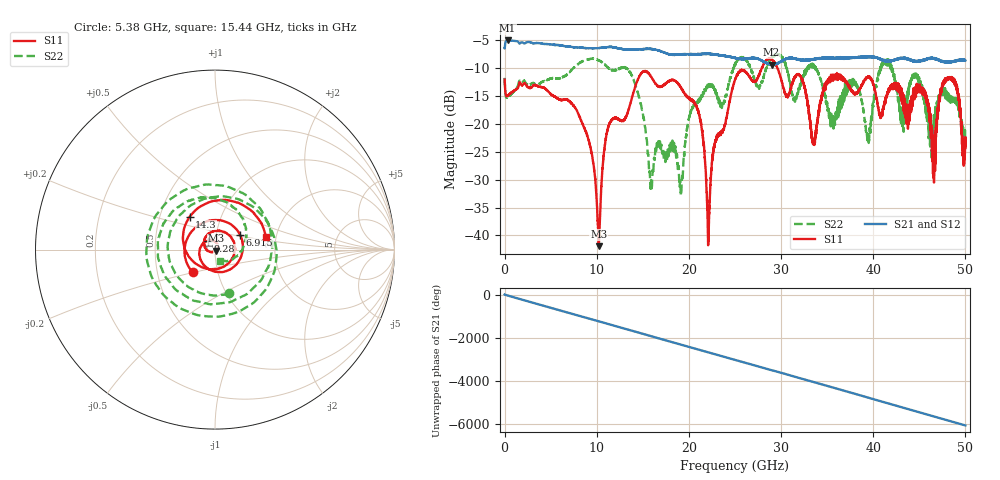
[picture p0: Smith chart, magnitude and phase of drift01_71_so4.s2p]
!Created with skrf (http://scikit-rf.org).
# Hz S RI R 50.0
!freq ReS11 ImS11 ReS21 ImS21 ReS12 ImS12 ReS22 ImS22
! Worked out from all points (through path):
!   10001 points, 300 kHz to 50 GHz, reference 50 ohm
!   highest |S21| = -5.05 dB at 325.3 MHz (marker M1); lowest = -9.4 dB at 28.97 GHz (marker M2)
!   group delay of S21, straight-line fit = 336 ps
!   lowest |S11| = -41.9 dB at 10.23 GHz (marker M3), VSWR 1.02, Z = 50.5 - j0.635 ohm
!   |S11| at or under -10 dB: start of sweep to 27.9 GHz; 29.6 GHz to end of sweep
!   |S22| runs from -32.8 to -7.4 dB; largest |S21 - S12| = 0.014
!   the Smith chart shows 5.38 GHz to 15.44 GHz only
!   S11 on the Smith chart (normalised r, x): 5.38 GHz: 0.76, -0.19; 6.915 GHz: 1.30, +0.22; 9.28 GHz: 0.92, +0.09; 14.3 GHz: 0.71, +0.27; 15.44 GHz: 1.77, +0.27
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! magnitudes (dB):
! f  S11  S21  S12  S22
! 300 kHz  -12.1  -6.5  -6.5  -11.8
! 325.3 MHz  -15.0  -5.1  -5.1  -15.3
! 5.38 GHz  -15.1  -5.8  -5.8  -11.8
! 6.915 GHz  -15.8  -6.1  -6.1  -11.0
! 8.335 GHz  -19.5  -6.3  -6.3  -8.9
! 9.28 GHz  -24.0  -6.4  -6.4  -8.3
! 10.23 GHz  -41.9  -6.4  -6.4  -8.6
! 11.23 GHz  -20.7  -6.2  -6.2  -9.9
! 14.3 GHz  -12.7  -6.7  -6.7  -13.5
! 15.44 GHz  -10.6  -6.5  -6.5  -22.9
! 16.67 GHz  -13.3  -6.8  -6.8  -23.3
! 19.14 GHz  -13.5  -7.5  -7.5  -32.8
! 20.86 GHz  -17.1  -7.6  -7.5  -16.1
! 22.11 GHz  -40.7  -7.5  -7.4  -13.2
! 25 GHz  -12.1  -8.2  -8.2  -9.4
! 28.97 GHz  -8.4  -9.4  -9.4  -8.2
! 33.34 GHz  -22.6  -8.5  -8.4  -9.7
! 39.46 GHz  -11.6  -7.9  -7.9  -21.8
! 41.67 GHz  -13.8  -8.7  -8.7  -9.3
! 46.56 GHz  -26.2  -8.2  -8.2  -21.2
! 48.56 GHz  -12.0  -8.8  -8.8  -15.9
! 50 GHz  -22.6  -8.6  -8.6  -23.0
